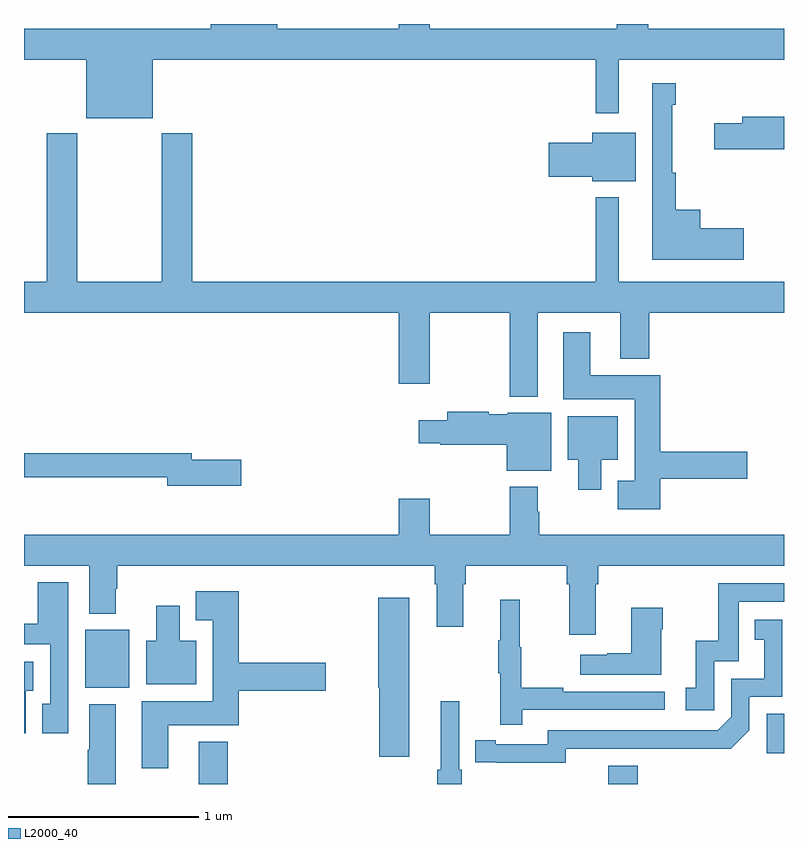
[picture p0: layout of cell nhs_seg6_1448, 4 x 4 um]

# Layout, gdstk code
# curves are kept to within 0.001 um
import gdstk
lib = gdstk.Library(unit=1e-6, precision=1e-09)
def R(c, l, rs):  # rectangles x0, y0, x1, y1
    for r in rs: c.add(gdstk.rectangle(r[:2], r[2:], *l))
def P(c, l, *ps):  # polygons
    for p in ps: c.add(gdstk.Polygon(p, *l))
L2000_40 = (2000, 40)

nhs_seg6_1448 = lib.new_cell('nhs_seg6_1448')
R(nhs_seg6_1448, L2000_40, [(199.919,967.5,200.072,967.723), (202.076,967.5,202.229,967.597), (202.908,967.662,203,967.869), (199.322,968.006,199.555,968.311)])
P(nhs_seg6_1448, L2000_40, [(202.129,971.312),(203,971.312),(203,971.476),(202.286,971.476),(202.286,971.5),(202.121,971.5),(202.121,971.476),(201.136,971.476),(201.136,971.5),(200.972,971.5),(200.972,971.476),(200.332,971.476),(200.332,971.5),(199.982,971.5),(199.982,971.476),(199,971.476),(199,971.312),(199.328,971.312),(199.328,971.003),(199.678,971.003),(199.678,971.312),(202.008,971.312),(202.008,971.031),(202.129,971.031)],
  [(202.789,970.425),(202.558,970.425),(202.558,970.522),(202.429,970.522),(202.429,970.718),(202.411,970.718),(202.411,971.075),(202.429,971.075),(202.429,971.188),(202.307,971.188),(202.307,970.259),(202.789,970.259)],
  [(203,971.011),(202.781,971.011),(202.781,970.977),(202.632,970.977),(202.632,970.84),(203,970.84)],
  [(202.219,970.927),(201.992,970.927),(201.992,970.875),(201.762,970.875),(201.762,970.697),(201.992,970.697),(201.992,970.673),(202.219,970.673)],
  [(201.703,969.98),(202.139,969.98),(202.139,969.737),(202.292,969.737),(202.292,969.98),(203,969.98),(203,970.144),(202.129,970.144),(202.129,970.588),(202.008,970.588),(202.008,970.144),(199.886,970.144),(199.886,970.924),(199.726,970.924),(199.726,970.144),(199.281,970.144),(199.281,970.924),(199.121,970.924),(199.121,970.144),(199,970.144),(199,969.98),(200.972,969.98),(200.972,969.606),(201.136,969.606),(201.136,969.98),(201.556,969.98),(201.556,969.539),(201.703,969.539)],
  [(202.349,969.106),(202.807,969.106),(202.807,969.248),(202.349,969.248),(202.349,969.652),(201.979,969.652),(201.979,969.877),(201.839,969.877),(201.839,969.524),(202.214,969.524),(202.214,969.097),(202.124,969.097),(202.124,968.945),(202.349,968.945)],
  [(201.775,969.454),(201.546,969.454),(201.546,969.445),(201.446,969.445),(201.446,969.458),(201.227,969.458),(201.227,969.415),(201.078,969.415),(201.078,969.293),(201.19,969.293),(201.19,969.286),(201.542,969.286),(201.542,969.149),(201.775,969.149)],
  [(202.039,969.206),(202.126,969.206),(202.126,969.436),(201.863,969.436),(201.863,969.206),(201.917,969.206),(201.917,969.048),(202.039,969.048)],
  [(200.143,969.206),(199.882,969.206),(199.882,969.242),(199,969.242),(199,969.114),(199.754,969.114),(199.754,969.071),(200.143,969.071)],
  [(202.009,968.552),(202.022,968.552),(202.022,968.648),(203,968.648),(203,968.812),(201.711,968.812),(201.711,968.933),(201.703,968.933),(201.703,969.064),(201.556,969.064),(201.556,968.812),(201.136,968.812),(201.136,969.001),(200.972,969.001),(200.972,968.812),(199,968.812),(199,968.648),(199.343,968.648),(199.343,968.396),(199.483,968.396),(199.483,968.528),(199.491,968.528),(199.491,968.648),(201.161,968.648),(201.161,968.552),(201.173,968.552),(201.173,968.328),(201.313,968.328),(201.313,968.552),(201.326,968.552),(201.326,968.648),(201.857,968.648),(201.857,968.552),(201.869,968.552),(201.869,968.286),(202.009,968.286)],
  [(199.233,968.338),(199.234,968.338),(199.234,968.563),(199.073,968.563),(199.073,968.344),(199,968.344),(199,968.235),(199.137,968.235),(199.137,967.923),(199.097,967.923),(199.097,967.767),(199.233,967.767)],
  [(202.632,968.145),(202.761,968.145),(202.761,968.46),(203,968.46),(203,968.556),(202.653,968.556),(202.653,968.254),(202.535,968.254),(202.535,968.007),(202.482,968.007),(202.482,967.887),(202.632,967.887)],
  [(199.759,967.808),(200.129,967.808),(200.129,967.991),(200.587,967.991),(200.587,968.138),(200.129,968.138),(200.129,968.515),(199.904,968.515),(199.904,968.363),(199.994,968.363),(199.994,967.936),(199.619,967.936),(199.619,967.584),(199.759,967.584)],
  [(201.028,968.479),(200.864,968.479),(200.864,968.007),(200.87,968.007),(200.87,967.644),(201.028,967.644)],
  [(201.623,967.89),(202.372,967.89),(202.372,967.986),(201.839,967.986),(201.839,968.006),(201.616,968.006),(201.616,968.22),(201.608,968.22),(201.608,968.47),(201.506,968.47),(201.506,968.257),(201.495,968.257),(201.495,968.083),(201.506,968.083),(201.506,967.812),(201.623,967.812)],
  [(199.906,968.254),(199.819,968.254),(199.819,968.437),(199.697,968.437),(199.697,968.254),(199.643,968.254),(199.643,968.024),(199.906,968.024)],
  [(202.354,968.315),(202.362,968.315),(202.362,968.428),(202.196,968.428),(202.196,968.189),(202.07,968.189),(202.07,968.179),(201.927,968.179),(201.927,968.075),(202.354,968.075)],
  [(201.852,967.686),(202.72,967.685),(202.818,967.782),(202.818,967.959),(202.992,967.959),(202.992,968.365),(202.846,968.365),(202.846,968.259),(202.895,968.259),(202.895,968.055),(202.722,968.055),(202.722,967.854),(202.65,967.782),(201.756,967.782),(201.756,967.71),(201.484,967.71),(201.484,967.73),(201.376,967.73),(201.376,967.614),(201.852,967.613)],
  [(199.009,967.991),(199.048,967.991),(199.048,968.143),(199,968.143),(199,967.766),(199.009,967.766)],
  [(201.305,967.576),(201.291,967.576),(201.291,967.936),(201.194,967.936),(201.194,967.576),(201.175,967.576),(201.175,967.5),(201.305,967.5)],
  [(199.483,967.921),(199.343,967.921),(199.343,967.679),(199.336,967.679),(199.336,967.5),(199.483,967.5)])

lib.write_gds('nhs_seg6_1448.gds')
